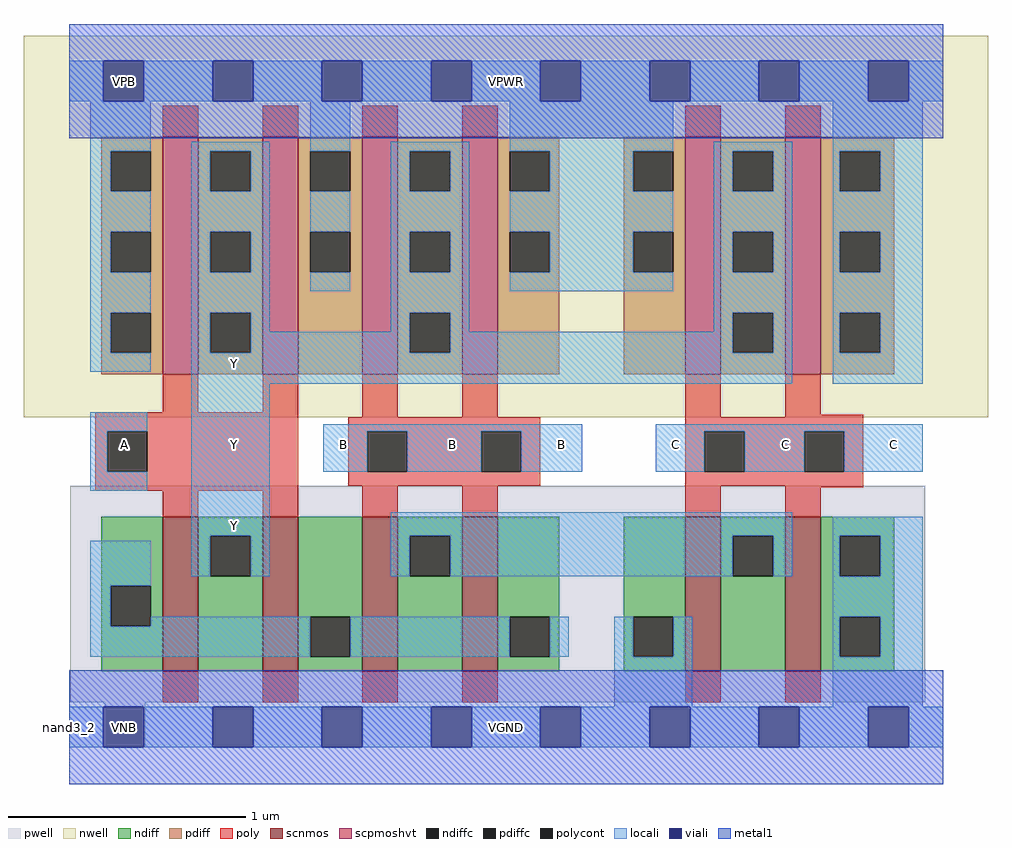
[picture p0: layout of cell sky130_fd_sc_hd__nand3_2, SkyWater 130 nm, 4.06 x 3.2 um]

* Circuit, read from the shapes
.subckt sky130_fd_sc_hd__nand3_2 A B C VGND VNB VPB VPWR Y
XM1 Y A n1 VNB sky130_fd_pr__nfet_01v8 w=0.65 l=0.15 m=2
XM2 n2 B n1 VNB sky130_fd_pr__nfet_01v8 w=0.65 l=0.15 m=2
XM3 n2 C VGND VNB sky130_fd_pr__nfet_01v8 w=0.65 l=0.15 m=2
XM4 Y A VPWR VPB sky130_fd_pr__pfet_01v8_hvt w=1 l=0.15 m=2
XM5 Y B VPWR VPB sky130_fd_pr__pfet_01v8_hvt w=1 l=0.15 m=2
XM6 Y C VPWR VPB sky130_fd_pr__pfet_01v8_hvt w=1 l=0.15 m=2
.ends

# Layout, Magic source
magic
tech sky130B
magscale 1 2
<< nwell >>
rect -38 261 774 582
<< pwell >>
rect 1 21 721 203
rect 30 -17 64 21
<< scnmos >>
rect 79 47 109 177
rect 163 47 193 177
rect 247 47 277 177
rect 331 47 361 177
rect 519 47 549 177
rect 603 47 633 177
<< scpmoshvt >>
rect 79 297 109 497
rect 163 297 193 497
rect 247 297 277 497
rect 331 297 361 497
rect 519 297 549 497
rect 603 297 633 497
<< ndiff >>
rect 27 119 79 177
rect 27 85 35 119
rect 69 85 79 119
rect 27 47 79 85
rect 109 161 163 177
rect 109 127 119 161
rect 153 127 163 161
rect 109 47 163 127
rect 193 93 247 177
rect 193 59 203 93
rect 237 59 247 93
rect 193 47 247 59
rect 277 161 331 177
rect 277 127 287 161
rect 321 127 331 161
rect 277 47 331 127
rect 361 93 413 177
rect 361 59 371 93
rect 405 59 413 93
rect 361 47 413 59
rect 467 93 519 177
rect 467 59 475 93
rect 509 59 519 93
rect 467 47 519 59
rect 549 161 603 177
rect 549 127 559 161
rect 593 127 603 161
rect 549 47 603 127
rect 633 161 695 177
rect 633 127 649 161
rect 683 127 695 161
rect 633 93 695 127
rect 633 59 649 93
rect 683 59 695 93
rect 633 47 695 59
<< pdiff >>
rect 27 485 79 497
rect 27 451 35 485
rect 69 451 79 485
rect 27 417 79 451
rect 27 383 35 417
rect 69 383 79 417
rect 27 349 79 383
rect 27 315 35 349
rect 69 315 79 349
rect 27 297 79 315
rect 109 485 163 497
rect 109 451 119 485
rect 153 451 163 485
rect 109 417 163 451
rect 109 383 119 417
rect 153 383 163 417
rect 109 349 163 383
rect 109 315 119 349
rect 153 315 163 349
rect 109 297 163 315
rect 193 485 247 497
rect 193 451 203 485
rect 237 451 247 485
rect 193 417 247 451
rect 193 383 203 417
rect 237 383 247 417
rect 193 297 247 383
rect 277 485 331 497
rect 277 451 287 485
rect 321 451 331 485
rect 277 417 331 451
rect 277 383 287 417
rect 321 383 331 417
rect 277 349 331 383
rect 277 315 287 349
rect 321 315 331 349
rect 277 297 331 315
rect 361 485 413 497
rect 361 451 371 485
rect 405 451 413 485
rect 361 417 413 451
rect 361 383 371 417
rect 405 383 413 417
rect 361 297 413 383
rect 467 485 519 497
rect 467 451 475 485
rect 509 451 519 485
rect 467 417 519 451
rect 467 383 475 417
rect 509 383 519 417
rect 467 297 519 383
rect 549 485 603 497
rect 549 451 559 485
rect 593 451 603 485
rect 549 417 603 451
rect 549 383 559 417
rect 593 383 603 417
rect 549 349 603 383
rect 549 315 559 349
rect 593 315 603 349
rect 549 297 603 315
rect 633 485 695 497
rect 633 451 649 485
rect 683 451 695 485
rect 633 417 695 451
rect 633 383 649 417
rect 683 383 695 417
rect 633 349 695 383
rect 633 315 649 349
rect 683 315 695 349
rect 633 297 695 315
<< ndiffc >>
rect 35 85 69 119
rect 119 127 153 161
rect 203 59 237 93
rect 287 127 321 161
rect 371 59 405 93
rect 475 59 509 93
rect 559 127 593 161
rect 649 127 683 161
rect 649 59 683 93
<< pdiffc >>
rect 35 451 69 485
rect 35 383 69 417
rect 35 315 69 349
rect 119 451 153 485
rect 119 383 153 417
rect 119 315 153 349
rect 203 451 237 485
rect 203 383 237 417
rect 287 451 321 485
rect 287 383 321 417
rect 287 315 321 349
rect 371 451 405 485
rect 371 383 405 417
rect 475 451 509 485
rect 475 383 509 417
rect 559 451 593 485
rect 559 383 593 417
rect 559 315 593 349
rect 649 451 683 485
rect 649 383 683 417
rect 649 315 683 349
<< poly >>
rect 79 497 109 523
rect 163 497 193 523
rect 247 497 277 523
rect 331 497 361 523
rect 519 497 549 523
rect 603 497 633 523
rect 79 265 109 297
rect 163 265 193 297
rect 22 249 193 265
rect 247 261 277 297
rect 331 261 361 297
rect 519 261 549 297
rect 603 263 633 297
rect 603 261 669 263
rect 22 215 32 249
rect 66 215 193 249
rect 22 199 193 215
rect 235 249 397 261
rect 235 215 251 249
rect 285 215 347 249
rect 381 215 397 249
rect 235 203 397 215
rect 519 249 669 261
rect 519 215 535 249
rect 569 215 619 249
rect 653 215 669 249
rect 519 203 669 215
rect 79 177 109 199
rect 163 177 193 199
rect 247 177 277 203
rect 331 177 361 203
rect 519 177 549 203
rect 603 202 669 203
rect 603 177 633 202
rect 79 21 109 47
rect 163 21 193 47
rect 247 21 277 47
rect 331 21 361 47
rect 519 21 549 47
rect 603 21 633 47
<< polycont >>
rect 32 215 66 249
rect 251 215 285 249
rect 347 215 381 249
rect 535 215 569 249
rect 619 215 653 249
<< locali >>
rect 0 527 29 561
rect 63 527 121 561
rect 155 527 213 561
rect 247 527 305 561
rect 339 527 397 561
rect 431 527 489 561
rect 523 527 581 561
rect 615 527 673 561
rect 707 527 736 561
rect 18 485 69 527
rect 18 451 35 485
rect 18 417 69 451
rect 18 383 35 417
rect 18 349 69 383
rect 18 315 35 349
rect 18 299 69 315
rect 103 485 169 493
rect 103 451 119 485
rect 153 451 169 485
rect 103 417 169 451
rect 103 383 119 417
rect 153 383 169 417
rect 103 349 169 383
rect 203 485 237 527
rect 203 417 237 451
rect 203 367 237 383
rect 271 485 337 493
rect 271 451 287 485
rect 321 451 337 485
rect 271 417 337 451
rect 271 383 287 417
rect 321 383 337 417
rect 103 315 119 349
rect 153 333 169 349
rect 271 349 337 383
rect 371 485 509 527
rect 405 451 475 485
rect 371 417 509 451
rect 405 383 475 417
rect 371 367 509 383
rect 543 485 609 493
rect 543 451 559 485
rect 593 451 609 485
rect 543 417 609 451
rect 543 383 559 417
rect 593 383 609 417
rect 271 333 287 349
rect 153 315 287 333
rect 321 333 337 349
rect 543 349 609 383
rect 543 333 559 349
rect 321 315 559 333
rect 593 315 609 349
rect 103 289 609 315
rect 643 485 719 527
rect 643 451 649 485
rect 683 451 719 485
rect 643 417 719 451
rect 643 383 649 417
rect 683 383 719 417
rect 643 349 719 383
rect 643 315 649 349
rect 683 315 719 349
rect 643 289 719 315
rect 18 249 66 265
rect 18 215 32 249
rect 18 199 66 215
rect 103 161 169 289
rect 214 249 432 255
rect 214 215 251 249
rect 285 215 347 249
rect 381 215 432 249
rect 494 249 719 255
rect 494 215 535 249
rect 569 215 619 249
rect 653 215 719 249
rect 18 119 69 157
rect 103 127 119 161
rect 153 127 169 161
rect 271 161 609 181
rect 271 127 287 161
rect 321 127 559 161
rect 593 127 609 161
rect 643 161 719 177
rect 643 127 649 161
rect 683 127 719 161
rect 18 85 35 119
rect 643 93 719 127
rect 69 85 203 93
rect 18 59 203 85
rect 237 59 371 93
rect 405 59 421 93
rect 459 59 475 93
rect 509 59 525 93
rect 459 17 525 59
rect 643 59 649 93
rect 683 59 719 93
rect 643 17 719 59
rect 0 -17 29 17
rect 63 -17 121 17
rect 155 -17 213 17
rect 247 -17 305 17
rect 339 -17 397 17
rect 431 -17 489 17
rect 523 -17 581 17
rect 615 -17 673 17
rect 707 -17 736 17
<< viali >>
rect 29 527 63 561
rect 121 527 155 561
rect 213 527 247 561
rect 305 527 339 561
rect 397 527 431 561
rect 489 527 523 561
rect 581 527 615 561
rect 673 527 707 561
rect 29 -17 63 17
rect 121 -17 155 17
rect 213 -17 247 17
rect 305 -17 339 17
rect 397 -17 431 17
rect 489 -17 523 17
rect 581 -17 615 17
rect 673 -17 707 17
<< metal1 >>
rect 0 561 736 592
rect 0 527 29 561
rect 63 527 121 561
rect 155 527 213 561
rect 247 527 305 561
rect 339 527 397 561
rect 431 527 489 561
rect 523 527 581 561
rect 615 527 673 561
rect 707 527 736 561
rect 0 496 736 527
rect 0 17 736 48
rect 0 -17 29 17
rect 63 -17 121 17
rect 155 -17 213 17
rect 247 -17 305 17
rect 339 -17 397 17
rect 431 -17 489 17
rect 523 -17 581 17
rect 615 -17 673 17
rect 707 -17 736 17
rect 0 -48 736 -17
<< labels >>
flabel locali s 30 221 64 255 0 FreeSans 250 0 0 0 A
port 1 nsew signal input
flabel locali s 122 153 156 187 0 FreeSans 250 0 0 0 Y
port 8 nsew signal output
flabel locali s 122 221 156 255 0 FreeSans 250 0 0 0 Y
port 8 nsew signal output
flabel locali s 122 289 156 323 0 FreeSans 250 0 0 0 Y
port 8 nsew signal output
flabel locali s 214 221 248 255 0 FreeSans 250 0 0 0 B
port 2 nsew signal input
flabel locali s 306 221 340 255 0 FreeSans 250 0 0 0 B
port 2 nsew signal input
flabel locali s 398 221 432 255 0 FreeSans 250 0 0 0 B
port 2 nsew signal input
flabel locali s 677 221 711 255 0 FreeSans 250 0 0 0 C
port 3 nsew signal input
flabel locali s 586 221 620 255 0 FreeSans 250 0 0 0 C
port 3 nsew signal input
flabel locali s 494 221 528 255 0 FreeSans 250 0 0 0 C
port 3 nsew signal input
flabel pwell s 30 -17 64 17 0 FreeSans 200 0 0 0 VNB
port 5 nsew ground bidirectional
flabel nwell s 30 527 64 561 0 FreeSans 200 0 0 0 VPB
port 6 nsew power bidirectional
flabel metal1 s 30 -17 64 17 0 FreeSans 200 0 0 0 VGND
port 4 nsew ground bidirectional abutment
flabel metal1 s 30 527 64 561 0 FreeSans 200 0 0 0 VPWR
port 7 nsew power bidirectional abutment
rlabel comment s 0 0 0 0 4 nand3_2
rlabel metal1 s 0 -48 736 48 1 VGND
port 4 nsew ground bidirectional abutment
rlabel metal1 s 0 496 736 592 1 VPWR
port 7 nsew power bidirectional abutment
<< properties >>
string FIXED_BBOX 0 0 736 544
string GDS_END 1827162
string GDS_FILE $PDKPATH/libs.ref/sky130_fd_sc_hd/gds/sky130_fd_sc_hd.gds
string GDS_START 1819936
string LEFclass CORE
string LEFsite unithd
string LEFsymmetry X Y R90
string path 0.000 13.600 18.400 13.600 
<< end >>
